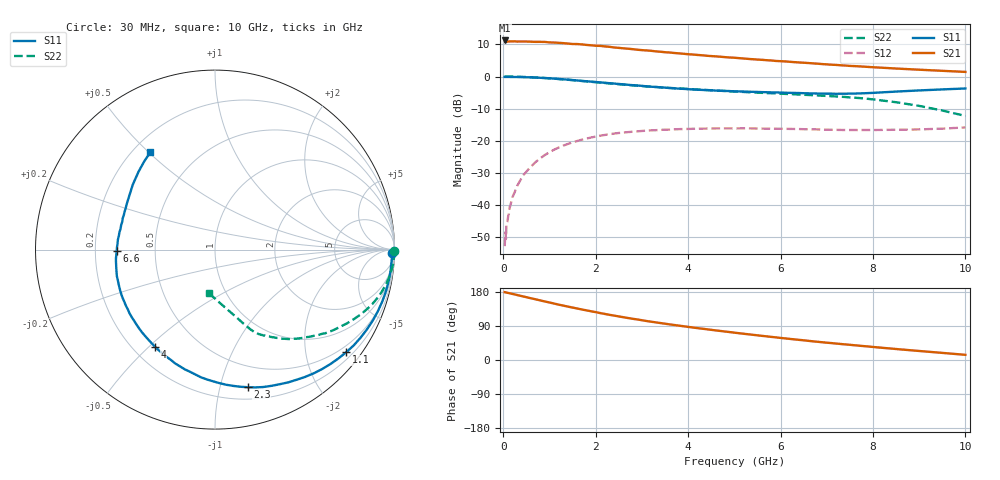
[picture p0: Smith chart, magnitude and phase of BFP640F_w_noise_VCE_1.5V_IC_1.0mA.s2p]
! Infineon Technologies  Discrete & RF Semiconductors
! BFP640F
! VCE =  1.5 V,  IC =  1.0 mA
! Common Emitter S-Parameters:  Apr 2013
# GHz  S  MA  R  50
!  f  S11  S21  S12  S22
! GHz  MAG  ANG  MAG  ANG  MAG  ANG  MAG  ANG
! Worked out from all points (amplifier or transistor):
!   99 points, 30 MHz to 10 GHz, reference 50 ohm
!   highest |S21| = 11.2 dB at 30 MHz (marker M1)
!   |S21| within 3 dB of that: start of sweep to 2.995 GHz
!   unconditionally stable (mu >= 1): 6.525 GHz to end of sweep
!   at 350 MHz: K = 0.00, MSG = 21.8 dB, |S12| = -32.8 dB
!   at 3.5 GHz: K = 0.52, MSG = 12.1 dB, |S12| = -16.5 dB
!   at 10 GHz: K = 1.35, MAG = 5.1 dB, |S12| = -15.8 dB
!   lowest NFmin = 0.52 dB at 450 MHz
!   S11 on the Smith chart (normalised r, x): 30 MHz: 48, -71; 1.1 GHz: 0.35, -2.86; 2.3 GHz: 0.30, -1.22; 4 GHz: 0.29, -0.52; 6.6 GHz: 0.29, -0.01; 10 GHz: 0.27, +0.51
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0.03  0.9871 -1.1  3.64 179.1  0.0023 84.8  1 -0.6
0.04  0.9868 -1.4  3.451 178.9  0.0029 84.1  0.9991 -0.8
0.05  0.9872 -1.7  3.484 178.8  0.0038 91.8  0.9992 -1.0
0.06  0.9858 -2.0  3.453 178.2  0.003 81.3  0.9986 -1.1
0.07  0.9874 -2.4  3.465 178.0  0.0051 80.6  0.9992 -1.3
0.09  0.9871 -3.1  3.486 177.4  0.0055 85.4  0.9983 -1.7
0.14  0.986 -4.9  3.507 176.1  0.0094 87.5  0.9981 -2.6
0.3  0.9832 -10.3  3.499 171.5  0.0198 85.0  0.9933 -5.5
0.45  0.9776 -15.5  3.506 167.2  0.0301 82.5  0.9848 -8.2
0.7  0.964 -24.2  3.461 160.2  0.0468 77.4  0.9668 -12.5
0.9  0.9479 -31.2  3.454 154.5  0.0601 72.9  0.9482 -15.9
1.1  0.928 -38.1  3.379 148.9  0.0728 68.1  0.9267 -19.2
1.7  0.8559 -57.9  3.162 133.3  0.1041 55.2  0.8531 -27.9
2.3  0.7877 -76.7  2.898 119.2  0.1268 44.1  0.7816 -35.9
2.8  0.7341 -90.8  2.665 108.8  0.1387 36.6  0.7287 -41.3
3.4  0.6788 -106.8  2.431 97.5  0.148 29.2  0.68 -46.7
4  0.636 -121.7  2.225 87.4  0.1531 23.4  0.6406 -51.0
5.1  0.5866 -147.9  1.933 70.7  0.1559 15.3  0.5792 -57.2
6.6  0.5477 -179.2  1.623 50.6  0.1514 8.9  0.5168 -63.9
6.7  0.5462 178.6  1.602 49.3  0.1509 8.8  0.5122 -64.2
8.5  0.5835 141.8  1.332 29.0  0.1486 10.1  0.3985 -72.2
10  0.6518 123.5  1.18 13.6  0.1617 12.8  0.2439 -98.4
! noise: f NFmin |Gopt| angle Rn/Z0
0.45  0.52  0.75  11  0.34
0.9  0.69  0.71  23  0.33
1.5  0.87  0.7  32  0.32
1.9  0.98  0.65  47  0.31
2.4  1.13  0.64  66  0.3
3.5  1.33  0.56  84  0.28
5.5  1.77  0.48  144  0.26
10  2.96  0.61  -113  0.48
